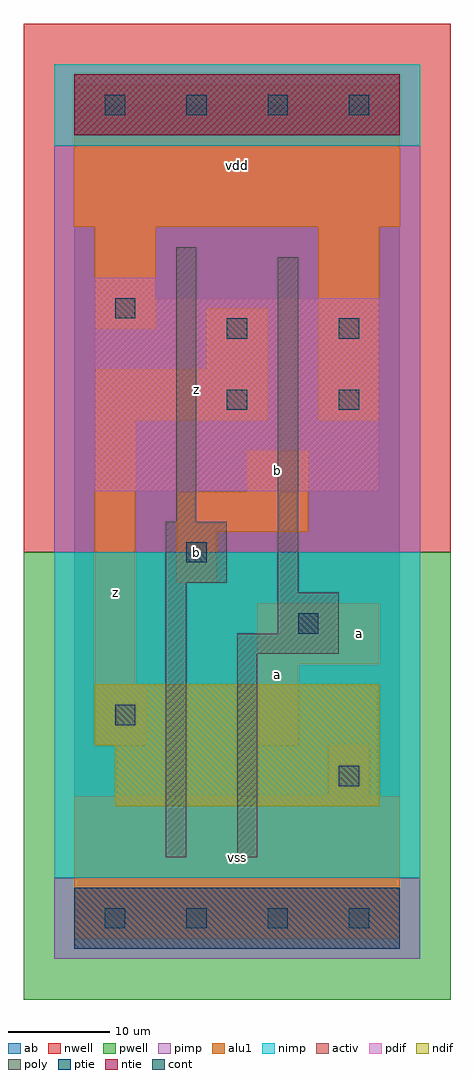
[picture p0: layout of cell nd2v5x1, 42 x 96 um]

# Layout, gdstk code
import gdstk
lib = gdstk.Library(unit=1e-6, precision=1e-09)
def R(c, l, rs):  # rectangles x0, y0, x1, y1
    for r in rs: c.add(gdstk.rectangle(r[:2], r[2:], *l))
def A(c, l, x, y, w, h, nx, ny, dx, dy):  # array of equal rectangles
    R(c, l, [(x+i*dx, y+j*dy, x+i*dx+w, y+j*dy+h) for i in range(nx) for j in range(ny)])
ndif = (3, 0)
pdif = (4, 0)
ntie = (5, 0)
ptie = (6, 0)
cont = (25, 0)
pwell = (41, 0)
nwell = (42, 0)
activ = (43, 0)
pimp = (44, 0)
nimp = (45, 0)
poly = (46, 0)
alu1 = (49, 0)
ab = (63, 0)

nd2v5x1 = lib.new_cell('nd2v5x1')
R(nd2v5x1, ndif, [(4,11,30,17), (2,17,30,23)])
R(nd2v5x1, pdif, [(2,42,30,61), (2,61,8,63)])
R(nd2v5x1, ntie, [(0,77,32,83)])
R(nd2v5x1, ptie, [(0,-3,32,3)])
A(nd2v5x1, cont, 3, -1, 2, 2, 4, 2, 8, 80)
R(nd2v5x1, cont, [(26,13,28,15), (4,19,6,21), (22,28,24,30), (11,35,13,37), (15,50,17,52), (26,50,28,52), (15,57,17,59), (26,57,28,59), (4,59,6,61)])
R(nd2v5x1, pwell, [(-5,-8,37,36)])
R(nd2v5x1, nwell, [(-5,36,37,88)])
R(nd2v5x1, activ, [(0,-3,32,3), (4,11,30,17), (2,17,30,23), (2,42,30,61), (2,61,8,63), (0,77,32,83)])
R(nd2v5x1, pimp, [(-2,-4,34,4), (-2,36,34,76)])
R(nd2v5x1, nimp, [(-2,4,34,36), (-2,76,34,84)])
R(nd2v5x1, poly, [(9,6,11,33), (16,6,18,26), (16,26,26,28), (20,28,26,32), (20,32,22,65), (9,33,15,39), (10,39,12,66)])
R(nd2v5x1, alu1, [(0,-2,32,12), (25,12,29,17), (2,17,7,23), (18,17,22,25), (2,23,6,49), (18,25,30,31), (10,33,14,38), (10,38,23,42), (17,42,23,46), (2,49,19,54), (24,49,30,68), (13,54,19,60), (2,58,8,68), (0,68,32,82)])
R(nd2v5x1, ab, [(0,0,32,80)])
nd2v5x1.add(gdstk.Label('z', (4,32), layer=49, texttype=0))
nd2v5x1.add(gdstk.Label('b', (12,36), layer=49, texttype=0))
nd2v5x1.add(gdstk.Label('z', (12,52), layer=49, texttype=0))
nd2v5x1.add(gdstk.Label('vss', (16,6), layer=49, texttype=0))
nd2v5x1.add(gdstk.Label('a', (20,24), layer=49, texttype=0))
nd2v5x1.add(gdstk.Label('b', (20,44), layer=49, texttype=0))
nd2v5x1.add(gdstk.Label('vdd', (16,74), layer=49, texttype=0))
nd2v5x1.add(gdstk.Label('a', (28,28), layer=49, texttype=0))

lib.write_gds('nd2v5x1.gds')
